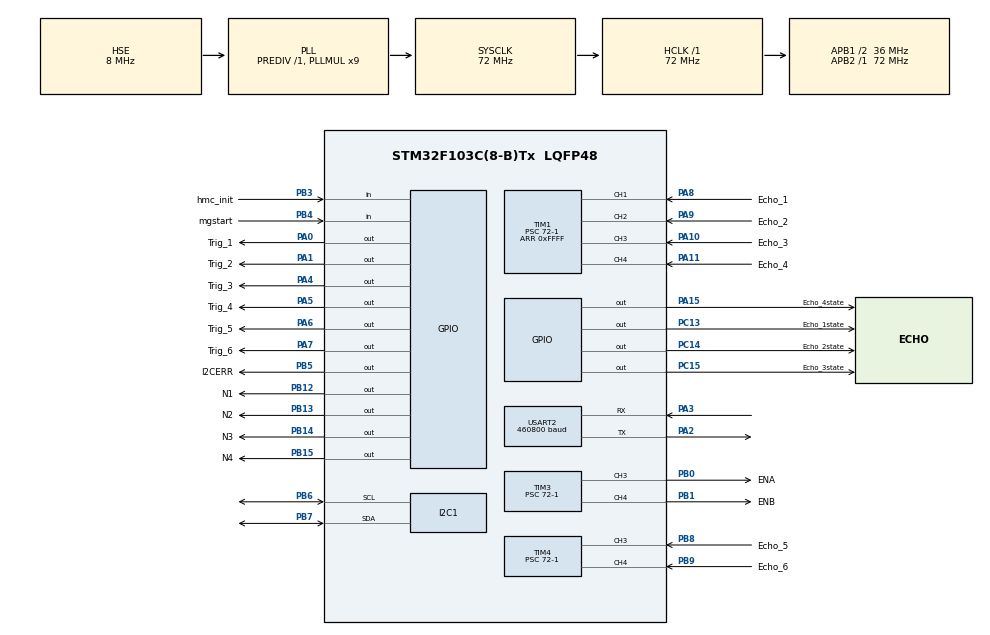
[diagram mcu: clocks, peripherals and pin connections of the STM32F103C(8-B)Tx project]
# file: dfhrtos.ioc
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FREERTOS.Tasks01=Echo_1,3,128,Echo_1Task,Default,NULL,Dynamic,NULL,NULL;Echo_2,3,128,Echo_2task,Default,NULL,Dynamic,NULL,NULL;Echo_3,3,128,Echo_3task,Default,NULL,Dynamic,NULL,NULL;Echo_4,3,128,Echo_4task,Default,NULL,Dynamic,NULL,NULL;myTask05,0,256,StartTask05,Default,NULL,Dynamic,NULL,NULL;myTask06,2,64,StartTask06,Default,NULL,Dynamic,NULL,NULL;myTask07,2,64,StartTask07,Default,NULL,Dynamic,NULL,NULL;hmc5983,3,128,hmc5983task,As external,NULL,Dynamic,NULL,NULL
FREERTOS.configLIBRARY_LOWEST_INTERRUPT_PRIORITY=15
FREERTOS.configLIBRARY_MAX_SYSCALL_INTERRUPT_PRIORITY=5
FREERTOS.configMINIMAL_STACK_SIZE=64
FREERTOS.configTOTAL_HEAP_SIZE=10240
I2C1.I2C_Mode=I2C_Fast
Mcu.Family=STM32F1
Mcu.Name=STM32F103C(8-B)Tx
Mcu.Package=LQFP48
NVIC.PriorityGroup=NVIC_PRIORITYGROUP_4
NVIC.TIM1_CC_IRQn=true\:5\:0\:false\:false\:true\:true\:true
NVIC.TIM2_IRQn=true\:0\:0\:false\:false\:true\:false\:true
NVIC.TIM4_IRQn=true\:0\:0\:false\:false\:true\:false\:true
NVIC.TimeBase=TIM2_IRQn
NVIC.TimeBaseIP=TIM2
PA0-WKUP.GPIO_Label=Trig_1
PA0-WKUP.GPIO_ModeDefaultOutputPP=GPIO_MODE_OUTPUT_PP
PA0-WKUP.GPIO_Speed=GPIO_SPEED_FREQ_HIGH
PA0-WKUP.PinState=GPIO_PIN_RESET
PA0-WKUP.Signal=GPIO_Output
PA1.GPIO_Label=Trig_2
PA1.GPIO_ModeDefaultOutputPP=GPIO_MODE_OUTPUT_PP
PA1.GPIO_Speed=GPIO_SPEED_FREQ_HIGH
PA1.PinState=GPIO_PIN_RESET
PA1.Signal=GPIO_Output
PA10.GPIO_Label=Echo_3
PA10.GPIO_Mode=GPIO_MODE_INPUT
PA10.GPIO_PuPd=GPIO_NOPULL
PA10.Signal=S_TIM1_CH3
PA11.GPIO_Label=Echo_4
PA11.GPIO_Mode=GPIO_MODE_INPUT
PA11.GPIO_PuPd=GPIO_NOPULL
PA11.Signal=S_TIM1_CH4
PA13.Mode=Serial_Wire
PA13.Signal=SYS_JTMS-SWDIO
PA14.Mode=Serial_Wire
PA14.Signal=SYS_JTCK-SWCLK
PA15.GPIO_Label=Echo_4state
PA15.GPIO_ModeDefaultOutputPP=GPIO_MODE_OUTPUT_OD
PA15.GPIO_Speed=GPIO_SPEED_FREQ_HIGH
PA15.PinState=GPIO_PIN_SET
PA15.Signal=GPIO_Output
PA2.Mode=Asynchronous
PA2.Signal=USART2_TX
PA3.Mode=Asynchronous
PA3.Signal=USART2_RX
PA4.GPIO_Label=Trig_3
PA4.GPIO_ModeDefaultOutputPP=GPIO_MODE_OUTPUT_PP
PA4.GPIO_Speed=GPIO_SPEED_FREQ_HIGH
PA4.PinState=GPIO_PIN_RESET
PA4.Signal=GPIO_Output
PA5.GPIO_Label=Trig_4
PA5.GPIO_ModeDefaultOutputPP=GPIO_MODE_OUTPUT_PP
PA5.GPIO_Speed=GPIO_SPEED_FREQ_HIGH
PA5.PinState=GPIO_PIN_RESET
PA5.Signal=GPIO_Output
PA6.GPIO_Label=Trig_5
PA6.GPIO_Speed=GPIO_SPEED_FREQ_HIGH
PA6.Signal=GPIO_Output
PA7.GPIO_Label=Trig_6
PA7.GPIO_Speed=GPIO_SPEED_FREQ_HIGH
PA7.Signal=GPIO_Output
PA8.GPIO_Label=Echo_1
PA8.GPIO_Mode=GPIO_MODE_INPUT
PA8.GPIO_ModeDefaultPP=GPIO_MODE_AF_OD
PA8.GPIO_PuPd=GPIO_NOPULL
PA8.GPIO_Speed=GPIO_SPEED_FREQ_HIGH
PA8.Signal=S_TIM1_CH1
PA9.GPIO_Label=Echo_2
PA9.GPIO_Mode=GPIO_MODE_INPUT
PA9.GPIO_PuPd=GPIO_NOPULL
PA9.Signal=S_TIM1_CH2
PB0.GPIO_Label=ENA
PB0.GPIO_Speed=GPIO_SPEED_FREQ_HIGH
PB0.Signal=S_TIM3_CH3
PB1.GPIO_Label=ENB
PB1.GPIO_Speed=GPIO_SPEED_FREQ_HIGH
PB1.Signal=S_TIM3_CH4
PB12.GPIO_Label=N1
PB12.GPIO_ModeDefaultOutputPP=GPIO_MODE_OUTPUT_PP
PB12.GPIO_Speed=GPIO_SPEED_FREQ_HIGH
PB12.PinState=GPIO_PIN_RESET
PB12.Signal=GPIO_Output
PB13.GPIO_Label=N2
PB13.GPIO_ModeDefaultOutputPP=GPIO_MODE_OUTPUT_PP
PB13.GPIO_Speed=GPIO_SPEED_FREQ_HIGH
PB13.PinState=GPIO_PIN_RESET
PB13.Signal=GPIO_Output
PB14.GPIO_Label=N3
PB14.GPIO_ModeDefaultOutputPP=GPIO_MODE_OUTPUT_PP
PB14.GPIO_Speed=GPIO_SPEED_FREQ_HIGH
PB14.PinState=GPIO_PIN_RESET
PB14.Signal=GPIO_Output
PB15.GPIO_Label=N4
PB15.GPIO_ModeDefaultOutputPP=GPIO_MODE_OUTPUT_PP
PB15.GPIO_Speed=GPIO_SPEED_FREQ_HIGH
PB15.PinState=GPIO_PIN_RESET
PB15.Signal=GPIO_Output
PB3.GPIO_Label=hmc_init
PB3.GPIO_PuPd=GPIO_PULLDOWN
PB3.Signal=GPIO_Input
PB4.GPIO_Label=mgstart
PB4.GPIO_PuPd=GPIO_PULLDOWN
PB4.Signal=GPIO_Input
PB5.GPIO_Label=I2CERR
PB5.GPIO_ModeDefaultOutputPP=GPIO_MODE_OUTPUT_OD
PB5.GPIO_Speed=GPIO_SPEED_FREQ_HIGH
PB5.PinState=GPIO_PIN_SET
PB5.Signal=GPIO_Output
PB6.Mode=I2C
PB6.Signal=I2C1_SCL
PB7.Mode=I2C
PB7.Signal=I2C1_SDA
PB8.GPIO_Label=Echo_5
PB8.Signal=S_TIM4_CH3
PB9.GPIO_Label=Echo_6
PB9.Signal=S_TIM4_CH4
PC13-TAMPER-RTC.GPIO_Label=Echo_1state
PC13-TAMPER-RTC.GPIO_ModeDefaultOutputPP=GPIO_MODE_OUTPUT_OD
PC13-TAMPER-RTC.GPIO_Speed=GPIO_SPEED_FREQ_HIGH
PC13-TAMPER-RTC.PinState=GPIO_PIN_SET
PC13-TAMPER-RTC.Signal=GPIO_Output
PC14-OSC32_IN.GPIO_Label=Echo_2state
PC14-OSC32_IN.GPIO_ModeDefaultOutputPP=GPIO_MODE_OUTPUT_OD
PC14-OSC32_IN.GPIO_Speed=GPIO_SPEED_FREQ_HIGH
PC14-OSC32_IN.PinState=GPIO_PIN_SET
PC14-OSC32_IN.Signal=GPIO_Output
PC15-OSC32_OUT.GPIO_Label=Echo_3state
PC15-OSC32_OUT.GPIO_ModeDefaultOutputPP=GPIO_MODE_OUTPUT_OD
PC15-OSC32_OUT.GPIO_Speed=GPIO_SPEED_FREQ_HIGH
PC15-OSC32_OUT.PinState=GPIO_PIN_SET
PC15-OSC32_OUT.Signal=GPIO_Output
PD0-OSC_IN.Mode=HSE-External-Oscillator
PD0-OSC_IN.Signal=RCC_OSC_IN
PD1-OSC_OUT.Mode=HSE-External-Oscillator
PD1-OSC_OUT.Signal=RCC_OSC_OUT
ProjectManager.HeapSize=0x200
ProjectManager.StackSize=0x400
ProjectManager.TargetToolchain=MDK-ARM V5
RCC.AHBFreq_Value=72000000
RCC.APB1CLKDivider=RCC_HCLK_DIV2
RCC.APB1Freq_Value=36000000
RCC.APB1TimFreq_Value=72000000
RCC.APB2Freq_Value=72000000
RCC.APB2TimFreq_Value=72000000
RCC.HCLKFreq_Value=72000000
RCC.PLLMUL=RCC_PLL_MUL9
RCC.PLLSourceVirtual=RCC_PLLSOURCE_HSE
RCC.SYSCLKFreq_VALUE=72000000
RCC.SYSCLKSource=RCC_SYSCLKSOURCE_PLLCLK
RCC.USBFreq_Value=72000000
SH.S_TIM1_CH1.0=TIM1_CH1,Input_Capture1_from_TI1
SH.S_TIM1_CH2.0=TIM1_CH2,Input_Capture2_from_TI2
SH.S_TIM1_CH3.0=TIM1_CH3,Input_Capture3_from_TI3
SH.S_TIM1_CH4.0=TIM1_CH4,Input_Capture4_from_TI4
SH.S_TIM3_CH3.0=TIM3_CH3,PWM Generation3 CH3
SH.S_TIM3_CH4.0=TIM3_CH4,PWM Generation4 CH4
SH.S_TIM4_CH3.0=TIM4_CH3,Input_Capture3_from_TI3
SH.S_TIM4_CH4.0=TIM4_CH4,Input_Capture4_from_TI4
TIM1.Channel-Input_Capture1_from_TI1=TIM_CHANNEL_1
TIM1.Channel-Input_Capture2_from_TI2=TIM_CHANNEL_2
TIM1.Channel-Input_Capture3_from_TI3=TIM_CHANNEL_3
TIM1.Channel-Input_Capture4_from_TI4=TIM_CHANNEL_4
TIM1.Period=0xFFFF
TIM1.Prescaler=72-1
TIM3.Channel-PWM\ Generation3\ CH3=TIM_CHANNEL_3
TIM3.Channel-PWM\ Generation4\ CH4=TIM_CHANNEL_4
TIM3.Period=1000-1
TIM3.Prescaler=72-1
TIM4.Channel-Input_Capture3_from_TI3=TIM_CHANNEL_3
TIM4.Channel-Input_Capture4_from_TI4=TIM_CHANNEL_4
TIM4.Period=0xFFFF
TIM4.Prescaler=72-1
USART2.BaudRate=460800
USART2.VirtualMode=VM_ASYNC
VP_FREERTOS_VS_ENABLE.Mode=Enabled
VP_SYS_VS_tim2.Mode=TIM2
VP_TIM1_VS_ClockSourceINT.Mode=Internal
VP_TIM4_VS_ClockSourceINT.Mode=Internal
board=dfhrtos

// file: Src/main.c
/**
  ******************************************************************************
  * File Name          : main.c
  * Description        : Main program body
  ******************************************************************************
  * This notice applies to any and all portions of this file
  * that are not between comment pairs USER CODE BEGIN and
  * USER CODE END. Other portions of this file, whether
  * inserted by the user or by software development tools
  * are owned by their respective copyright owners.
  *
  * Copyright (c) 2017 STMicroelectronics International N.V.
  * All rights reserved.
  *
  * Redistribution and use in source and binary forms, with or without
  * modification, are permitted, provided that the following conditions are met:
  *
  * 1. Redistribution of source code must retain the above copyright notice,
  *    this list of conditions and the following disclaimer.
  * 2. Redistributions in binary form must reproduce the above copyright notice,
  *    this list of conditions and the following disclaimer in the documentation
  *    and/or other materials provided with the distribution.
  * 3. Neither the name of STMicroelectronics nor the names of other
  *    contributors to this software may be used to endorse or promote products
  *    derived from this software without specific written permission.
  * 4. This software, including modifications and/or derivative works of this
  *    software, must execute solely and exclusively on microcontroller or
  *    microprocessor devices manufactured by or for STMicroelectronics.
  * 5. Redistribution and use of this software other than as permitted under
  *    this license is void and will automatically terminate your rights under
  *    this license.
  *
  * THIS SOFTWARE IS PROVIDED BY STMICROELECTRONICS AND CONTRIBUTORS "AS IS"
  * AND ANY EXPRESS, IMPLIED OR STATUTORY WARRANTIES, INCLUDING, BUT NOT
  * LIMITED TO, THE IMPLIED WARRANTIES OF MERCHANTABILITY, FITNESS FOR A
  * PARTICULAR PURPOSE AND NON-INFRINGEMENT OF THIRD PARTY INTELLECTUAL PROPERTY
  * RIGHTS ARE DISCLAIMED TO THE FULLEST EXTENT PERMITTED BY LAW. IN NO EVENT
  * SHALL STMICROELECTRONICS OR CONTRIBUTORS BE LIABLE FOR ANY DIRECT, INDIRECT,
  * INCIDENTAL, SPECIAL, EXEMPLARY, OR CONSEQUENTIAL DAMAGES (INCLUDING, BUT NOT
  * LIMITED TO, PROCUREMENT OF SUBSTITUTE GOODS OR SERVICES; LOSS OF USE, DATA,
  * OR PROFITS; OR BUSINESS INTERRUPTION) HOWEVER CAUSED AND ON ANY THEORY OF
  * LIABILITY, WHETHER IN CONTRACT, STRICT LIABILITY, OR TORT (INCLUDING
  * NEGLIGENCE OR OTHERWISE) ARISING IN ANY WAY OUT OF THE USE OF THIS SOFTWARE,
  * EVEN IF ADVISED OF THE POSSIBILITY OF SUCH DAMAGE.
  *
  ******************************************************************************
  */
#include "main.h"
#include "stm32f1xx_hal.h"
#include "cmsis_os.h"

/* USER CODE BEGIN Includes */
#include "echo.h"
#include "hmc5983.h"
#include "flash.h"
#include "moto.h"
#include "math.h"

/* USER CODE END Includes */

I2C_HandleTypeDef hi2c1;

TIM_HandleTypeDef htim1;
TIM_HandleTypeDef htim3;
TIM_HandleTypeDef htim4;

UART_HandleTypeDef huart2;

osThreadId Echo_1Handle;
osThreadId Echo_2Handle;
osThreadId Echo_3Handle;
osThreadId Echo_4Handle;
osThreadId myTask05Handle;
osThreadId myTask06Handle;
osThreadId myTask07Handle;
osThreadId hmc5983Handle;

/* USER CODE BEGIN PV */
/* Private variables ---------------------------------------------------------*/
osThreadId startinitHandle;
osThreadId main_1Handle;
osThreadId Echo_5Handle;
osThreadId Echo_6Handle;
osThreadId moto_jzHandle;
/* USER CODE END PV */

void SystemClock_Config(void);
static void MX_GPIO_Init(void);
static void MX_TIM1_Init(void);
static void MX_TIM3_Init(void);
static void MX_USART2_UART_Init(void);
static void MX_I2C1_Init(void);
static void MX_TIM4_Init(void);
void Echo_1Task(void const * argument);
void Echo_2task(void const * argument);
void Echo_3task(void const * argument);
void Echo_4task(void const * argument);
void StartTask05(void const * argument);
void StartTask06(void const * argument);
void StartTask07(void const * argument);
extern void hmc5983task(void const * argument);

void HAL_TIM_MspPostInit(TIM_HandleTypeDef *htim);

/* USER CODE BEGIN PFP */
/* Private function prototypes -----------------------------------------------*/
 unsigned char SW1,SW2,SW3,SW4,SW5,SW6,SFmoto;
 uint32_t ED1,ED2,ED3,ED4,ED5,ED6;
 uint32_t EDjl1 = 0,EDjl2 = 0,EDjl3 = 0,EDjl4 = 0,EDjl5 = 0,EDjl6 = 0;
 unsigned char temp1,temp2,temp3,temp4,temp5,temp6;
 uint32_t echo1[2], echo2[2], echo3[2], echo4[2],echo5[2],echo6[2];
 double angle;
 uint16_t angle1;
 int16_t x,y,z,offsetX=0,offsetY=0,offsetZ=0,hmcwritedata[4],hmcreaddata[4];

 void startinittask(void const * argument);
 void main_1task(void const * argument);
 void Echo_5task(void const * argument);
 void Echo_6task(void const * argument);
 extern void moto_jztask(void const * argument);
/* USER CODE END PFP */

int main(void)
{

  /* USER CODE BEGIN 1 */
  UDelayUS(200000);
  /* USER CODE END 1 */

  /* MCU Configuration----------------------------------------------------------*/

  /* Reset of all peripherals, Initializes the Flash interface and the Systick. */
  HAL_Init();

  /* USER CODE BEGIN Init */
  Echo_Init();
  /* USER CODE END Init */

  /* Configure the system clock */
  SystemClock_Config();

  /* Initialize all configured peripherals */
  MX_GPIO_Init();
  MX_TIM1_Init();
  MX_TIM3_Init();
  MX_USART2_UART_Init();
  MX_I2C1_Init();
  MX_TIM4_Init();

  /* USER CODE BEGIN 2 */

   HAL_TIM_PWM_Start(&htim3,TIM_CHANNEL_3);
	HAL_TIM_PWM_Start(&htim3,TIM_CHANNEL_4);
   TIM3->CCR3 = 600;
   TIM3->CCR4 = 600;
//	HAL_NVIC_SetPriority(EXTI9_5_IRQn, 4, 0);
//	HAL_NVIC_SetPriority(EXTI15_10_IRQn, 4, 0);
//	HAL_NVIC_EnableIRQ(EXTI9_5_IRQn);
//	HAL_NVIC_EnableIRQ(EXTI15_10_IRQn);

//	HAL_TIM_IC_Start_DMA(&htim1,TIM_CHANNEL_1,echo1,1);
//	HAL_TIM_IC_Start_DMA(&htim1,TIM_CHANNEL_2,echo2,1);
//	HAL_TIM_IC_Start_DMA(&htim1,TIM_CHANNEL_3,echo3,1);
//	HAL_TIM_IC_Start_DMA(&htim1,TIM_CHANNEL_1,echo4,1);
    HAL_TIM_Base_Start_IT(&htim1);
	 HAL_TIM_Base_Start_IT(&htim4);
	HAL_TIM_IC_Start_IT(&htim1,TIM_CHANNEL_1);
	HAL_TIM_IC_Start_IT(&htim1,TIM_CHANNEL_2);
	HAL_TIM_IC_Start_IT(&htim1,TIM_CHANNEL_3);
	HAL_TIM_IC_Start_IT(&htim1,TIM_CHANNEL_4);
	HAL_TIM_IC_Start_IT(&htim4,TIM_CHANNEL_3);
	HAL_TIM_IC_Start_IT(&htim4,TIM_CHANNEL_4);
	//hmc5983_init();
  /* USER CODE END 2 */

  /* Create the thread(s) */
  /* definition and creation of Echo_1 */
//  osThreadDef(Echo_1, Echo_1Task, osPriorityRealtime, 0, 128);
//  Echo_1Handle = osThreadCreate(osThread(Echo_1), NULL);

//  /* definition and creation of Echo_2 */
//  osThreadDef(Echo_2, Echo_2task, osPriorityRealtime, 0, 128);
//  Echo_2Handle = osThreadCreate(osThread(Echo_2), NULL);

//  /* definition and creation of Echo_3 */
//  osThreadDef(Echo_3, Echo_3task, osPriorityRealtime, 0, 128);
//  Echo_3Handle = osThreadCreate(osThread(Echo_3), NULL);

//  /* definition and creation of Echo_4 */
//  osThreadDef(Echo_4, Echo_4task, osPriorityRealtime, 0, 128);
//  Echo_4Handle = osThreadCreate(osThread(Echo_4), NULL);

//  /* definition and creation of myTask05 */
//  osThreadDef(myTask05, StartTask05, osPriorityNormal, 0, 256);
//  myTask05Handle = osThreadCreate(osThread(myTask05), NULL);

//  /* definition and creation of myTask06 */
//  osThreadDef(myTask06, StartTask06, osPriorityHigh, 0, 64);
//  myTask06Handle = osThreadCreate(osThread(myTask06), NULL);

//  /* definition and creation of myTask07 */
//  osThreadDef(myTask07, StartTask07, osPriorityHigh, 0, 64);
//  myTask07Handle = osThreadCreate(osThread(myTask07), NULL);

//  /* definition and creation of hmc5983 */
//  osThreadDef(hmc5983, hmc5983task, osPriorityRealtime, 0, 128);
//  hmc5983Handle = osThreadCreate(osThread(hmc5983), NULL);

  /* USER CODE BEGIN RTOS_THREADS */
  /* add threads, ... */
  osThreadDef(startinit, startinittask, osPriorityRealtime, 0, 256);
  startinitHandle = osThreadCreate(osThread(startinit), NULL);
  /* USER CODE END RTOS_THREADS */

  /* Start scheduler */
  osKernelStart();

  /* We should never get here as control is now taken by the scheduler */

  /* Infinite loop */
  while (1)
  {

  }

}

/** System Clock Configuration
*/
void SystemClock_Config(void)
{

  RCC_OscInitTypeDef RCC_OscInitStruct;
  RCC_ClkInitTypeDef RCC_ClkInitStruct;

    /**Initializes the CPU, AHB and APB busses clocks
    */
  RCC_OscInitStruct.OscillatorType = RCC_OSCILLATORTYPE_HSE;
  RCC_OscInitStruct.HSEState = RCC_HSE_ON;
  RCC_OscInitStruct.HSEPredivValue = RCC_HSE_PREDIV_DIV1;
  RCC_OscInitStruct.HSIState = RCC_HSI_ON;
  RCC_OscInitStruct.PLL.PLLState = RCC_PLL_ON;
  RCC_OscInitStruct.PLL.PLLSource = RCC_PLLSOURCE_HSE;
  RCC_OscInitStruct.PLL.PLLMUL = RCC_PLL_MUL9;
  if (HAL_RCC_OscConfig(&RCC_OscInitStruct) != HAL_OK)
  {
    _Error_Handler(__FILE__, __LINE__);
  }

    /**Initializes the CPU, AHB and APB busses clocks
    */
  RCC_ClkInitStruct.ClockType = RCC_CLOCKTYPE_HCLK|RCC_CLOCKTYPE_SYSCLK
                              |RCC_CLOCKTYPE_PCLK1|RCC_CLOCKTYPE_PCLK2;
  RCC_ClkInitStruct.SYSCLKSource = RCC_SYSCLKSOURCE_PLLCLK;
  RCC_ClkInitStruct.AHBCLKDivider = RCC_SYSCLK_DIV1;
  RCC_ClkInitStruct.APB1CLKDivider = RCC_HCLK_DIV2;
  RCC_ClkInitStruct.APB2CLKDivider = RCC_HCLK_DIV1;

  if (HAL_RCC_ClockConfig(&RCC_ClkInitStruct, FLASH_LATENCY_2) != HAL_OK)
  {
    _Error_Handler(__FILE__, __LINE__);
  }

    /**Configure the Systick interrupt time
    */
  HAL_SYSTICK_Config(HAL_RCC_GetHCLKFreq()/1000);

    /**Configure the Systick
    */
  HAL_SYSTICK_CLKSourceConfig(SYSTICK_CLKSOURCE_HCLK);

  /* SysTick_IRQn interrupt configuration */
  HAL_NVIC_SetPriority(SysTick_IRQn, 15, 0);
}

/* I2C1 init function */
static void MX_I2C1_Init(void)
{

  hi2c1.Instance = I2C1;
  hi2c1.Init.ClockSpeed = 400000;
  hi2c1.Init.DutyCycle = I2C_DUTYCYCLE_2;
  hi2c1.Init.OwnAddress1 = 0;
  hi2c1.Init.AddressingMode = I2C_ADDRESSINGMODE_7BIT;
  hi2c1.Init.DualAddressMode = I2C_DUALADDRESS_DISABLE;
  hi2c1.Init.OwnAddress2 = 0;
  hi2c1.Init.GeneralCallMode = I2C_GENERALCALL_DISABLE;
  hi2c1.Init.NoStretchMode = I2C_NOSTRETCH_DISABLE;
  if (HAL_I2C_Init(&hi2c1) != HAL_OK)
  {
    _Error_Handler(__FILE__, __LINE__);
  }

}

/* TIM1 init function */
static void MX_TIM1_Init(void)
{

  TIM_ClockConfigTypeDef sClockSourceConfig;
  TIM_MasterConfigTypeDef sMasterConfig;
  TIM_IC_InitTypeDef sConfigIC;

  htim1.Instance = TIM1;
  htim1.Init.Prescaler = 72-1;
  htim1.Init.CounterMode = TIM_COUNTERMODE_UP;
  htim1.Init.Period = 0xFFFF;
  htim1.Init.ClockDivision = TIM_CLOCKDIVISION_DIV1;
  htim1.Init.RepetitionCounter = 0;
  htim1.Init.AutoReloadPreload = TIM_AUTORELOAD_PRELOAD_DISABLE;
  if (HAL_TIM_Base_Init(&htim1) != HAL_OK)
  {
    _Error_Handler(__FILE__, __LINE__);
  }

  sClockSourceConfig.ClockSource = TIM_CLOCKSOURCE_INTERNAL;
  if (HAL_TIM_ConfigClockSource(&htim1, &sClockSourceConfig) != HAL_OK)
  {
    _Error_Handler(__FILE__, __LINE__);
  }

  if (HAL_TIM_IC_Init(&htim1) != HAL_OK)
  {
    _Error_Handler(__FILE__, __LINE__);
  }

  sMasterConfig.MasterOutputTrigger = TIM_TRGO_RESET;
  sMasterConfig.MasterSlaveMode = TIM_MASTERSLAVEMODE_DISABLE;
  if (HAL_TIMEx_MasterConfigSynchronization(&htim1, &sMasterConfig) != HAL_OK)
  {
    _Error_Handler(__FILE__, __LINE__);
  }

  sConfigIC.ICPolarity = TIM_INPUTCHANNELPOLARITY_RISING;
  sConfigIC.ICSelection = TIM_ICSELECTION_DIRECTTI;
  sConfigIC.ICPrescaler = TIM_ICPSC_DIV1;
  sConfigIC.ICFilter = 0;
  if (HAL_TIM_IC_ConfigChannel(&htim1, &sConfigIC, TIM_CHANNEL_1) != HAL_OK)
  {
    _Error_Handler(__FILE__, __LINE__);
  }

  if (HAL_TIM_IC_ConfigChannel(&htim1, &sConfigIC, TIM_CHANNEL_2) != HAL_OK)
  {
    _Error_Handler(__FILE__, __LINE__);
  }

  if (HAL_TIM_IC_ConfigChannel(&htim1, &sConfigIC, TIM_CHANNEL_3) != HAL_OK)
  {
    _Error_Handler(__FILE__, __LINE__);
  }

  if (HAL_TIM_IC_ConfigChannel(&htim1, &sConfigIC, TIM_CHANNEL_4) != HAL_OK)
  {
    _Error_Handler(__FILE__, __LINE__);
  }

}

/* TIM3 init function */
static void MX_TIM3_Init(void)
{

  TIM_MasterConfigTypeDef sMasterConfig;
  TIM_OC_InitTypeDef sConfigOC;

  htim3.Instance = TIM3;
  htim3.Init.Prescaler = 72-1;
  htim3.Init.CounterMode = TIM_COUNTERMODE_UP;
  htim3.Init.Period = 1000-1;
  htim3.Init.ClockDivision = TIM_CLOCKDIVISION_DIV1;
  htim3.Init.AutoReloadPreload = TIM_AUTORELOAD_PRELOAD_DISABLE;
  if (HAL_TIM_PWM_Init(&htim3) != HAL_OK)
  {
    _Error_Handler(__FILE__, __LINE__);
  }

  sMasterConfig.MasterOutputTrigger = TIM_TRGO_RESET;
  sMasterConfig.MasterSlaveMode = TIM_MASTERSLAVEMODE_DISABLE;
  if (HAL_TIMEx_MasterConfigSynchronization(&htim3, &sMasterConfig) != HAL_OK)
  {
    _Error_Handler(__FILE__, __LINE__);
  }

  sConfigOC.OCMode = TIM_OCMODE_PWM1;
  sConfigOC.Pulse = 0;
  sConfigOC.OCPolarity = TIM_OCPOLARITY_HIGH;
  sConfigOC.OCFastMode = TIM_OCFAST_DISABLE;
  if (HAL_TIM_PWM_ConfigChannel(&htim3, &sConfigOC, TIM_CHANNEL_3) != HAL_OK)
  {
    _Error_Handler(__FILE__, __LINE__);
  }

  if (HAL_TIM_PWM_ConfigChannel(&htim3, &sConfigOC, TIM_CHANNEL_4) != HAL_OK)
  {
    _Error_Handler(__FILE__, __LINE__);
  }

  HAL_TIM_MspPostInit(&htim3);

}

/* TIM4 init function */
static void MX_TIM4_Init(void)
{

  TIM_ClockConfigTypeDef sClockSourceConfig;
  TIM_MasterConfigTypeDef sMasterConfig;
  TIM_IC_InitTypeDef sConfigIC;

  htim4.Instance = TIM4;
  htim4.Init.Prescaler = 72-1;
  htim4.Init.CounterMode = TIM_COUNTERMODE_UP;
  htim4.Init.Period = 0xFFFF;
  htim4.Init.ClockDivision = TIM_CLOCKDIVISION_DIV1;
  htim4.Init.AutoReloadPreload = TIM_AUTORELOAD_PRELOAD_DISABLE;
  if (HAL_TIM_Base_Init(&htim4) != HAL_OK)
  {
    _Error_Handler(__FILE__, __LINE__);
  }

  sClockSourceConfig.ClockSource = TIM_CLOCKSOURCE_INTERNAL;
  if (HAL_TIM_ConfigClockSource(&htim4, &sClockSourceConfig) != HAL_OK)
  {
    _Error_Handler(__FILE__, __LINE__);
  }

  if (HAL_TIM_IC_Init(&htim4) != HAL_OK)
  {
    _Error_Handler(__FILE__, __LINE__);
  }

  sMasterConfig.MasterOutputTrigger = TIM_TRGO_RESET;
  sMasterConfig.MasterSlaveMode = TIM_MASTERSLAVEMODE_DISABLE;
  if (HAL_TIMEx_MasterConfigSynchronization(&htim4, &sMasterConfig) != HAL_OK)
  {
    _Error_Handler(__FILE__, __LINE__);
  }

  sConfigIC.ICPolarity = TIM_INPUTCHANNELPOLARITY_RISING;
  sConfigIC.ICSelection = TIM_ICSELECTION_DIRECTTI;
  sConfigIC.ICPrescaler = TIM_ICPSC_DIV1;
  sConfigIC.ICFilter = 0;
  if (HAL_TIM_IC_ConfigChannel(&htim4, &sConfigIC, TIM_CHANNEL_3) != HAL_OK)
  {
    _Error_Handler(__FILE__, __LINE__);
  }

  if (HAL_TIM_IC_ConfigChannel(&htim4, &sConfigIC, TIM_CHANNEL_4) != HAL_OK)
  {
    _Error_Handler(__FILE__, __LINE__);
  }

}

/* USART2 init function */
static void MX_USART2_UART_Init(void)
{

  huart2.Instance = USART2;
  huart2.Init.BaudRate = 460800;
  huart2.Init.WordLength = UART_WORDLENGTH_8B;
  huart2.Init.StopBits = UART_STOPBITS_1;
  huart2.Init.Parity = UART_PARITY_NONE;
  huart2.Init.Mode = UART_MODE_TX_RX;
  huart2.Init.HwFlowCtl = UART_HWCONTROL_NONE;
  huart2.Init.OverSampling = UART_OVERSAMPLING_16;
  if (HAL_UART_Init(&huart2) != HAL_OK)
  {
    _Error_Handler(__FILE__, __LINE__);
  }

}

/** Configure pins as
        * Analog
        * Input
        * Output
        * EVENT_OUT
        * EXTI
*/
static void MX_GPIO_Init(void)
{

  GPIO_InitTypeDef GPIO_InitStruct;

  /* GPIO Ports Clock Enable */
  __HAL_RCC_GPIOC_CLK_ENABLE();
  __HAL_RCC_GPIOD_CLK_ENABLE();
  __HAL_RCC_GPIOA_CLK_ENABLE();
  __HAL_RCC_GPIOB_CLK_ENABLE();

  /*Configure GPIO pin Output Level */
  HAL_GPIO_WritePin(GPIOC, Echo_1state_Pin|Echo_2state_Pin|Echo_3state_Pin, GPIO_PIN_SET);

  /*Configure GPIO pin Output Level */
  HAL_GPIO_WritePin(GPIOA, Trig_1_Pin|Trig_2_Pin|Trig_3_Pin|Trig_4_Pin
                          |Trig_5_Pin|Trig_6_Pin, GPIO_PIN_RESET);

  /*Configure GPIO pin Output Level */
  HAL_GPIO_WritePin(GPIOB, N1_Pin|N2_Pin|N3_Pin|N4_Pin, GPIO_PIN_RESET);

  /*Configure GPIO pin Output Level */
  HAL_GPIO_WritePin(Echo_4state_GPIO_Port, Echo_4state_Pin, GPIO_PIN_SET);

  /*Configure GPIO pin Output Level */
  HAL_GPIO_WritePin(I2CERR_GPIO_Port, I2CERR_Pin, GPIO_PIN_SET);

  /*Configure GPIO pins : Echo_1state_Pin Echo_2state_Pin Echo_3state_Pin */
  GPIO_InitStruct.Pin = Echo_1state_Pin|Echo_2state_Pin|Echo_3state_Pin;
  GPIO_InitStruct.Mode = GPIO_MODE_OUTPUT_OD;
  GPIO_InitStruct.Speed = GPIO_SPEED_FREQ_HIGH;
  HAL_GPIO_Init(GPIOC, &GPIO_InitStruct);

  /*Configure GPIO pins : Trig_1_Pin Trig_2_Pin Trig_3_Pin Trig_4_Pin
                           Trig_5_Pin Trig_6_Pin */
  GPIO_InitStruct.Pin = Trig_1_Pin|Trig_2_Pin|Trig_3_Pin|Trig_4_Pin
                          |Trig_5_Pin|Trig_6_Pin;
  GPIO_InitStruct.Mode = GPIO_MODE_OUTPUT_PP;
  GPIO_InitStruct.Speed = GPIO_SPEED_FREQ_HIGH;
  HAL_GPIO_Init(GPIOA, &GPIO_InitStruct);

  /*Configure GPIO pins : N1_Pin N2_Pin N3_Pin N4_Pin */
  GPIO_InitStruct.Pin = N1_Pin|N2_Pin|N3_Pin|N4_Pin;
  GPIO_InitStruct.Mode = GPIO_MODE_OUTPUT_PP;
  GPIO_InitStruct.Speed = GPIO_SPEED_FREQ_HIGH;
  HAL_GPIO_Init(GPIOB, &GPIO_InitStruct);

  /*Configure GPIO pin : Echo_4state_Pin */
  GPIO_InitStruct.Pin = Echo_4state_Pin;
  GPIO_InitStruct.Mode = GPIO_MODE_OUTPUT_OD;
  GPIO_InitStruct.Speed = GPIO_SPEED_FREQ_HIGH;
  HAL_GPIO_Init(Echo_4state_GPIO_Port, &GPIO_InitStruct);

  /*Configure GPIO pins : hmc_init_Pin mgstart_Pin */
  GPIO_InitStruct.Pin = hmc_init_Pin|mgstart_Pin;
  GPIO_InitStruct.Mode = GPIO_MODE_INPUT;
  GPIO_InitStruct.Pull = GPIO_PULLDOWN;
  HAL_GPIO_Init(GPIOB, &GPIO_InitStruct);

  /*Configure GPIO pin : I2CERR_Pin */
  GPIO_InitStruct.Pin = I2CERR_Pin;
  GPIO_InitStruct.Mode = GPIO_MODE_OUTPUT_OD;
  GPIO_InitStruct.Speed = GPIO_SPEED_FREQ_HIGH;
  HAL_GPIO_Init(I2CERR_GPIO_Port, &GPIO_InitStruct);

}

/* USER CODE BEGIN 4 */
void startinittask(void const * argument)
{
	uint8_t aa = 1;
	for(;;)
	{

			if(HAL_GPIO_ReadPin(hmc_init_GPIO_Port,hmc_init_Pin) == 1)
	      {
				osDelay(500);
					if(HAL_GPIO_ReadPin(hmc_init_GPIO_Port,hmc_init_Pin) == 0)
					{
						//osDelay(500);
						moto_stop();
							  osThreadDef(Echo_1, Echo_1Task, osPriorityRealtime, 0, 128);
							  Echo_1Handle = osThreadCreate(osThread(Echo_1), NULL);

							  /* definition and creation of Echo_2 */
							  osThreadDef(Echo_2, Echo_2task, osPriorityRealtime, 0, 128);
							  Echo_2Handle = osThreadCreate(osThread(Echo_2), NULL);

							  /* definition and creation of Echo_3 */
							  osThreadDef(Echo_3, Echo_3task, osPriorityRealtime, 0, 128);
							  Echo_3Handle = osThreadCreate(osThread(Echo_3), NULL);

							  /* definition and creation of Echo_4 */
							  osThreadDef(Echo_4, Echo_4task, osPriorityRealtime, 0, 128);
							  Echo_4Handle = osThreadCreate(osThread(Echo_4), NULL);

							  /* definition and creation of Echo_5 */
							  osThreadDef(Echo_5,Echo_5task,osPriorityRealtime, 0, 128);
							  Echo_5Handle = osThreadCreate(osThread(Echo_5), NULL);

							  /* definition and creation of Echo_6 */
							  osThreadDef(Echo_6, Echo_6task, osPriorityRealtime, 0, 128);
							  Echo_6Handle = osThreadCreate(osThread(Echo_6), NULL);

							  /* definition and creation of hmc5983 */
							  osThreadDef(hmc5983, hmc5983task, osPriorityRealtime, 0, 128);
							  hmc5983Handle = osThreadCreate(osThread(hmc5983), NULL);

                     osThreadDef(myTask05, StartTask05, osPriorityNormal, 0, 256);
						  myTask05Handle = osThreadCreate(osThread(myTask05), NULL);

					  aa = 1;
					}
					else
					{
						while(HAL_GPIO_ReadPin(hmc_init_GPIO_Port,hmc_init_Pin) == 1){}
						if(aa ==1)
						{
						vTaskDelete(hmc5983Handle);
						vTaskDelete(Echo_1Handle);
						vTaskDelete(Echo_2Handle);
						vTaskDelete(Echo_3Handle);
						vTaskDelete(Echo_4Handle);
						vTaskDelete(Echo_5Handle);
						vTaskDelete(Echo_6Handle);
						vTaskDelete(myTask05Handle);
							aa = 0;
						}
						hmc5983jzinit();
					}

		   }
		if(HAL_GPIO_ReadPin(mgstart_GPIO_Port,mgstart_Pin) == 1)
		{    osDelay(300);
			if(HAL_GPIO_ReadPin(mgstart_GPIO_Port,mgstart_Pin) == 1)
		   {
				while(HAL_GPIO_ReadPin(mgstart_GPIO_Port,mgstart_Pin) == 1){}
			   flashread1(hmcreaddata,4);
			  offsetX = hmcreaddata[1];
			  offsetY = hmcreaddata[2];
			  offsetZ = hmcreaddata[3];
			  //osDelay(500);
					  osThreadDef(Echo_1, Echo_1Task, osPriorityRealtime, 0, 128);
					  Echo_1Handle = osThreadCreate(osThread(Echo_1), NULL);

					  /* definition and creation of Echo_2 */
					  osThreadDef(Echo_2, Echo_2task, osPriorityRealtime, 0, 128);
					  Echo_2Handle = osThreadCreate(osThread(Echo_2), NULL);

					  /* definition and creation of Echo_3 */
					  osThreadDef(Echo_3, Echo_3task, osPriorityRealtime, 0, 128);
					  Echo_3Handle = osThreadCreate(osThread(Echo_3), NULL);

					  /* definition and creation of Echo_4 */
					  osThreadDef(Echo_4, Echo_4task, osPriorityRealtime, 0, 128);
					  Echo_4Handle = osThreadCreate(osThread(Echo_4), NULL);

					  /* definition and creation of Echo_5 */
					  osThreadDef(Echo_5,Echo_5task,osPriorityRealtime, 0, 128);
					  Echo_5Handle = osThreadCreate(osThread(Echo_5), NULL);

					  /* definition and creation of Echo_6 */
					  osThreadDef(Echo_6, Echo_6task, osPriorityRealtime, 0, 128);
					  Echo_6Handle = osThreadCreate(osThread(Echo_6), NULL);

		//			  /* definition and creation of myTask05 */
		//			  osThreadDef(myTask05, StartTask05, osPriorityNormal, 0, 256);
		//			  myTask05Handle = osThreadCreate(osThread(myTask05), NULL);

					  /* definition and creation of hmc5983 */
					  osThreadDef(hmc5983, hmc5983task, osPriorityRealtime, 0, 128);
					  hmc5983Handle = osThreadCreate(osThread(hmc5983), NULL);

					  /* definition and creation of myTask07 */
					  osThreadDef(myTask07, StartTask07,osPriorityRealtime , 0, 64);
					  myTask07Handle = osThreadCreate(osThread(myTask07), NULL);

					  osThreadDef(main_1, main_1task, osPriorityHigh, 0, 256);
					  main_1Handle = osThreadCreate(osThread(main_1), NULL);

					  osThreadDef(moto_jz, moto_jztask, osPriorityHigh, 0, 256);
					  moto_jzHandle = osThreadCreate(osThread(moto_jz), NULL);

						/* definition and creation of myTask06 */
					  osThreadDef(myTask06, StartTask06, osPriorityHigh, 0, 64);
					  myTask06Handle = osThreadCreate(osThread(myTask06), NULL);

					  vTaskSuspend(myTask07Handle);
					  vTaskSuspend(moto_jzHandle);

			  vTaskDelete(startinitHandle);
			  if(aa == 1)
			  vTaskDelete(myTask05Handle);

			  aa = 0;
			}
		  }
		osDelay(1);

  }
}

void main_1task(void const * argument)
{
	//osDelay(500);
	uint8_t setmoto = 1;
	xQueueHandle MsgQueue;
	MsgQueue = xQueueCreate(10, sizeof(uint8_t));
	TIM3->CCR3 = SPEEDA;
   TIM3->CCR4 = SPEEDB;
	for(;;)
	{
		if(EDjl1>400)
		{
			if(EDjl2>300)
			{
				if(EDjl4>300)
				{
					if(EDjl3>300)
					{
						if(EDjl5>300) moto_front();
					}
				}
			}
			else
			{
				if(EDjl3<300)
				{
						vTaskResume(moto_jzHandle);
                  vTaskSuspend(main_1Handle);
				}
			}
		}

//		if(EDjl1>400)
//		{
//			if(setmoto == 1)
//			{
//			   moto_front();
//				setmoto = 0;
//			}
//			if(EDjl3<300|EDjl5<300)
//		   {
//				if(EDjl2>200)
//				{
//				  if(EDjl2<300)
//				  {
//						if(EDjl3>200)
//						{
//							if((EDjl2-EDjl3)>=10)
//							{
//								TIM3->CCR3 = 500;
//								TIM3->CCR4 = 500;
//								moto_left();
//							}
//							else if((EDjl3-EDjl2)>=10)
//							{
//								TIM3->CCR3 = 500;
//								TIM3->CCR4 = 500;
//								moto_right();
//							}
//							else
//							{
//								 setmoto = 1;
//								 TIM3->CCR3 = 600;
//								 TIM3->CCR4 = 600;
//							}
//						}
//						else
//						{
//							setmoto = 1;
//							TIM3->CCR3 = 600;
//							TIM3->CCR4 = 600;
//						}
//					}
//				  else
//				  {
//					  moto_left();
//				  }
//				}
//				else
//				{
//					setmoto = 1;
//					TIM3->CCR3 = 600+150;
//					TIM3->CCR4 = 600-100;
//				}
//			}
//		}
//      else
//		{
//			setmoto = 1;

//			if(EDjl1<=150)
//			{
//				if(setmoto == 1)
//				{
//					//moto_back();
//					//osDelay(5);
//					moto_stop();
//					setmoto = 0;
//				}if(EDjl4>400&EDjl3>400)
//					{
//						SFmoto = 1;
//						vTaskResume(myTask07Handle);
//                  vTaskSuspend(main_1Handle);
//					}
////				if((EDjl2-EDjl3)>=10)
////				{
////					TIM3->CCR3 = 500;
////					TIM3->CCR4 = 500;
////					moto_left();
////				}
////				else if((EDjl3-EDjl2)>=10)
////				{
////					TIM3->CCR3 = 500;
////					TIM3->CCR4 = 500;
////					moto_right();
////				}
//				else
//				{
//
//				}
//			 }
//			}

		osDelay (1);
	}
}

/* Echo_5Task function */
void Echo_5task(void const * argument)
{

  /* USER CODE BEGIN 5 */
  /* Infinite loop */

  for(;;)
  {
	   echo_5();
		osDelay(1);
  }
  /* USER CODE END 5 */
}

/* Echo_6task function */
void Echo_6task(void const * argument)
{
  /* USER CODE BEGIN Echo_2task */

  /* Infinite loop */

  for(;;)
  {
       echo_6();
		osDelay(1);
  }
  /* USER CODE END Echo_2task */
}

/* USER CODE END 4 */

/* Echo_1Task function */
void Echo_1Task(void const * argument)
{

  /* USER CODE BEGIN 5 */
  /* Infinite loop */

  for(;;)
  {
	   echo_1();
		osDelay(1);
  }
  /* USER CODE END 5 */
}

/* Echo_2task function */
void Echo_2task(void const * argument)
{
  /* USER CODE BEGIN Echo_2task */

  /* Infinite loop */

  for(;;)
  {
       echo_2();
		osDelay(1);
  }
  /* USER CODE END Echo_2task */
}

/* Echo_3task function */
void Echo_3task(void const * argument)
{
  /* USER CODE BEGIN Echo_3task */
  /* Infinite loop */

  for(;;)
  {
      echo_3();
		osDelay(1);
  }
  /* USER CODE END Echo_3task */
}

/* Echo_4task function */
void Echo_4task(void const * argument)
{
  /* USER CODE BEGIN Echo_4task */
  /* Infinite loop */
  for(;;)
  {
	  echo_4();
    osDelay(1);

  }
  /* USER CODE END Echo_4task */
}

/* StartTask05 function */
void StartTask05(void const * argument)
{
  /* USER CODE BEGIN StartTask05 */
  /* Infinite loop */
	//uint8_t JL[] = {"前    cm左   cm右   cm后   cm"};
	uint16_t c;
uint8_t JL[] = {"F---.- L---.- E---.- R---.- G---.- B---.- ---°  ----, ----, ----\n\r"};
//uint8_t JL[] = {"--------------------------\n\r"};
  for(;;)
  {
	    angle1 = angle;
	   //JL[1] = echo1[0]/10000+48;
		JL[1] = EDjl1%10000/1000+48;
		JL[2] = EDjl1%10000%1000/100+48;
		JL[3] = EDjl1%10000%1000%100/10+48;
	   JL[5] = EDjl1%10000%1000%100%10+48;

	  //	JL[11] = echo1[1]/10000+48;
		JL[8] = EDjl2%10000/1000+48;
		JL[9] = EDjl2%10000%1000/100+48;
		JL[10] = EDjl2%10000%1000%100/10+48;
	   JL[12] = EDjl2%10000%1000%100%10+48;

	  // JL[21] = EDjl1/10000+48;
		JL[15] = EDjl3%10000/1000+48;
		JL[16] = EDjl3%10000%1000/100+48;
		JL[17] = EDjl3%10000%1000%100/10+48;
	   JL[19] = EDjl3%10000%1000%100%10+48;

   	//JL[14] = EDjl4/10000+48;
		JL[22] = EDjl4%10000/1000+48;
		JL[23] = EDjl4%10000%1000/100+48;
		JL[24] = EDjl4%10000%1000%100/10+48;
	   JL[26] = EDjl4%10000%1000%100%10+48;

		JL[29] = EDjl5%10000/1000+48;
		JL[30] = EDjl5%10000%1000/100+48;
		JL[31] = EDjl5%10000%1000%100/10+48;
	   JL[33] = EDjl5%10000%1000%100%10+48;

   	//JL[14] = EDjl4/10000+48;
		JL[36] = EDjl6%10000/1000+48;
		JL[37] = EDjl6%10000%1000/100+48;
		JL[38] = EDjl6%10000%1000%100/10+48;
	   JL[40] = EDjl6%10000%1000%100%10+48;

		JL[42] = angle1/100+48;
		JL[43] = angle1%100/10+48;
	   JL[44] = angle1%100%10+48;

		if(x<0) JL[48] = '-',c = -x;
		else JL[48] = ' ',c = x;

		JL[49] = c/1000+48;
		JL[50] = c%1000/100+48;
	   JL[51] = c%1000%100/10+48;
		JL[52] = c%1000%100%10+48;

		if(y<0) JL[54] = '-',c = -y;
		else JL[54] = ' ',c = y;

		JL[55] = c/1000+48;
		JL[56] = c%1000/100+48;
	   JL[57] = c%1000%100/10+48;
		JL[58] = c%1000%100%10+48;

		if(z<0) JL[60] = '-',c = -z;
		else JL[60] = ' ',c = z;

		JL[61] = c/1000+48;
		JL[62] = c%1000/100+48;
	   JL[63] = c%1000%100/10+48;
		JL[64] = c%1000%100%10+48;
//		JL[9] = EDjl2/100+48;
//		JL[10] = EDjl2%100/10+48;
//		JL[11] = EDjl2%100%10+48;
//
//		JL[16] = EDjl3/100+48;
//		JL[17] = EDjl3%100/10+48;
//		JL[18] = EDjl3%100%10+48;
//
//		JL[23] = EDjl4/100+48;
//		JL[24] = EDjl4%100/10+48;
//		JL[25] = EDjl4%100%10+48;
	 HAL_UART_Transmit(&huart2,JL,66,0xffff);
	 osDelay(120);
  }
  /* USER CODE END StartTask05 */
}

/* StartTask06 function */
void StartTask06(void const * argument)
{
  /* USER CODE BEGIN StartTask06 */
  /* Infinite loop */
//		uint16_t led0pwmval=800;
//	 uint8_t dir=1;
  for(;;)
  {
//      		osDelay(5);
//		if(dir)led0pwmval++;
//		else led0pwmval--;
//
// 		if(led0pwmval>996)dir=0;
//		if(led0pwmval==800)dir=1;
//	  TIM3->CCR2 = led0pwmval;
	  osDelay(1);

  }
  /* USER CODE END StartTask06 */
}

/* StartTask07 function */
void StartTask07(void const * argument)
{
  /* USER CODE BEGIN StartTask07 */
  /* Infinite loop */
  for(;;)
  {
	  moto_90(SFmoto);
	  if(SFmoto == 2)
	  {
		  vTaskResume(main_1Handle);
		  vTaskSuspend(myTask07Handle);
	  }
	 osDelay(1);
  }
  /* USER CODE END StartTask07 */
}

void HAL_TIM_PeriodElapsedCallback(TIM_HandleTypeDef *htim)
{
  if (htim->Instance == TIM2) {
    HAL_IncTick();
  }
/* USER CODE BEGIN Callback 1 */
//  if (htim->Instance == htim3.Instance)
//    {
//        /* Toggle LED */
//     echo_1();
//    }
/* USER CODE END Callback 1 */
}

void _Error_Handler(char * file, int line)
{
  while(1)
  {
  }
}

/************************ (C) COPYRIGHT STMicroelectronics *****END OF FILE****/
